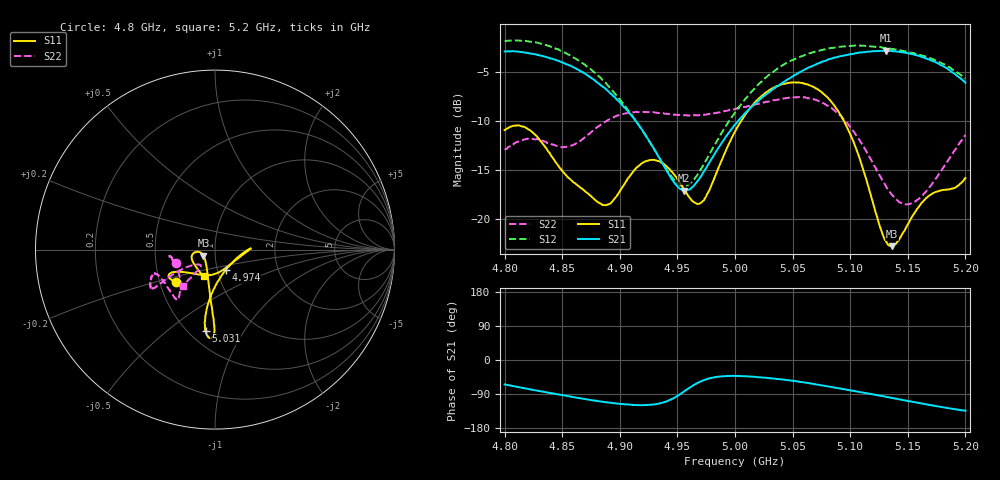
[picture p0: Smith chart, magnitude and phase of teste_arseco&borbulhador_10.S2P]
! Network Analyzer HP8722D
! Hewlett-Packard
! Data name: Linha & Wilkinson
! Saver's name: Rodrigo Anjos
! Comments: Teste da utilização de aquisição
! continua pelo VNA HP8722D
! Time and date: 15/4/2025 15:43
!  Frequency  S11  S21  S12  S22
# HZ  S  MA R 50
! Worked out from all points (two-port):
!   401 points, 4.8 GHz to 5.2 GHz, reference 50 ohm
!   highest |S21| = -2.88 dB at 5.131 GHz (marker M1); lowest = -17.1 dB at 4.956 GHz (marker M2)
!   |S21| within 3 dB of the highest: start of sweep to 4.878 GHz; 5.045 GHz to 5.198 GHz (152.8 MHz wide, 2.98 % of centre)
!   lowest |S11| = -22.8 dB at 5.136 GHz (marker M3), VSWR 1.16, Z = 43.8 - j2.97 ohm
!   |S11| at or under -10 dB: start of sweep to 5.005 GHz; 5.094 GHz to end of sweep
!   |S22| runs from -18.5 to -7.6 dB; largest |S21 - S12| = 1.5
!   S11 on the Smith chart (normalised r, x): 4.8 GHz: 0.61, -0.24; 4.974 GHz: 1.10, -0.25; 5.031 GHz: 0.60, -0.69; 5.2 GHz: 0.84, -0.26
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4.8e9  0.2834 -140.9  0.711 -64.4  0.8054 126.5  0.2269 -161.2
4.823e9  0.28 -152.1  0.6928 -78.1  0.7966 116.2  0.2552 -171.8
4.851e9  0.1729 -128.1  0.6222 -93.2  0.7068 105.1  0.2329 -158.3
4.867e9  0.1431 -99.0  0.5601 -101.8  0.6231 99.4  0.2532 -140.6
4.89e9  0.1189 -45.2  0.4469 -112.4  0.4749 91.5  0.3193 -128.2
4.916e9  0.1853 -1.7  0.3027 -119.1  0.3026 89.0  0.3499 -128.0
4.934e9  0.1969 1.5  0.2058 -115.1  0.207 96.7  0.3454 -132.5
4.956e9  0.1409 -14.4  0.1395 -82.7  0.1476 131.0  0.337 -142.6
4.966e9  0.1204 -37.7  0.1519 -63.0  0.1635 151.2  0.3384 -147.9
4.974e9  0.1276 -61.8  0.1781 -52.1  0.1954 162.7  0.3396 -151.6
5e9  0.2781 -96.3  0.3019 -42.1  0.3487 175.6  0.3627 -158.4
5.031e9  0.4566 -96.6  0.4484 -48.3  0.5508 172.1  0.3972 -154.2
5.067e9  0.4724 -90.6  0.6001 -62.5  0.7029 159.9  0.4078 -147.9
5.082e9  0.4047 -90.9  0.6519 -70.4  0.7385 153.7  0.3712 -148.1
5.097e9  0.2951 -94.3  0.6829 -78.5  0.7586 146.6  0.3083 -149.3
5.131e9  0.0773 -138.0  0.7175 -97.3  0.7412 129.3  0.1469 -144.2
5.134e9  0.07328 -146.8  0.7148 -98.7  0.7359 128.0  0.1381 -142.4
5.136e9  0.07281 -152.4  0.7162 -100.1  0.7299 127.0  0.1331 -141.2
5.147e9  0.08693 -170.9  0.7022 -106.4  0.713 122.0  0.1193 -134.3
5.158e9  0.1127 -172.1  0.6787 -112.4  0.6902 117.5  0.1249 -129.9
5.179e9  0.14 -155.6  0.6053 -124.0  0.6226 109.4  0.176 -130.2
5.2e9  0.1617 -113.3  0.4932 -133.8  0.5186 103.9  0.2673 -131.5
